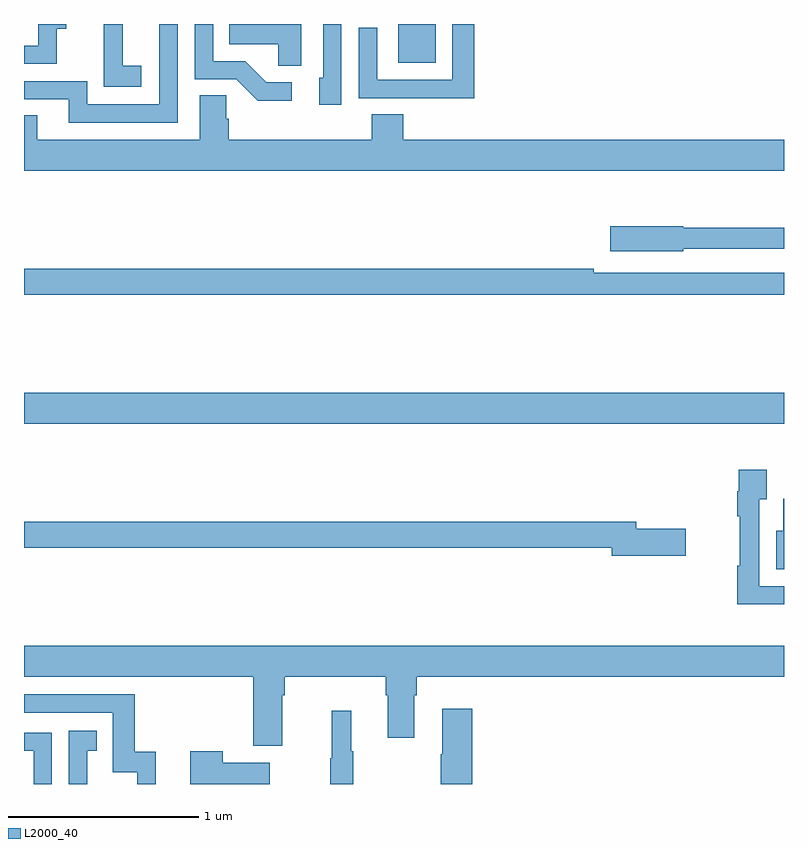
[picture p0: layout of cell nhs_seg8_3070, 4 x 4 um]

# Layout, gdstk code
import gdstk
lib = gdstk.Library(unit=1e-6, precision=1e-09)
def R(c, l, rs):  # rectangles x0, y0, x1, y1
    for r in rs: c.add(gdstk.rectangle(r[:2], r[2:], *l))
def P(c, l, *ps):  # polygons
    for p in ps: c.add(gdstk.Polygon(p, *l))
L2000_40 = (2000, 40)

nhs_seg8_3070 = lib.new_cell('nhs_seg8_3070')
R(nhs_seg8_3070, L2000_40, [(301,1153.796,305,1153.96)])
P(nhs_seg8_3070, L2000_40, [(301.618,1155.679),(301.52,1155.679),(301.52,1155.9),(301.421,1155.9),(301.421,1155.775),(301.42,1155.775),(301.42,1155.569),(301.618,1155.569)],
  [(302.41,1155.594),(302.275,1155.594),(302.164,1155.705),(301.995,1155.705),(301.995,1155.9),(301.899,1155.9),(301.899,1155.609),(302.118,1155.609),(302.231,1155.497),(302.41,1155.497)],
  [(303.166,1155.898),(303.127,1155.898),(303.127,1155.9),(302.969,1155.9),(302.969,1155.695),(303.166,1155.695)],
  [(302.67,1155.9),(302.574,1155.9),(302.574,1155.618),(302.555,1155.618),(302.555,1155.474),(302.67,1155.474)],
  [(301.809,1155.9),(301.713,1155.9),(301.713,1155.477),(301.332,1155.477),(301.332,1155.6),(301,1155.6),(301,1155.504),(301.235,1155.504),(301.235,1155.381),(301.809,1155.381)],
  [(303.371,1155.9),(303.255,1155.9),(303.255,1155.606),(302.859,1155.606),(302.859,1155.88),(302.763,1155.88),(302.763,1155.51),(303.079,1155.51),(303.079,1155.509),(303.371,1155.509)],
  [(301.173,1155.875),(301.222,1155.875),(301.222,1155.9),(301.074,1155.9),(301.074,1155.786),(301,1155.786),(301,1155.69),(301.173,1155.69)],
  [(302.458,1155.898),(302.08,1155.898),(302.08,1155.794),(302.337,1155.794),(302.337,1155.679),(302.458,1155.679)],
  [(305,1155.292),(302.996,1155.292),(302.996,1155.425),(302.831,1155.425),(302.831,1155.292),(302.078,1155.292),(302.078,1155.401),(302.064,1155.401),(302.064,1155.524),(301.925,1155.524),(301.925,1155.292),(301.069,1155.292),(301.069,1155.419),(301,1155.419),(301,1155.128),(305,1155.128)],
  [(304.47,1154.718),(305,1154.718),(305,1154.827),(304.47,1154.827),(304.47,1154.835),(304.086,1154.835),(304.086,1154.705),(304.47,1154.705)],
  [(305,1154.592),(303.998,1154.592),(303.998,1154.612),(301,1154.612),(301,1154.476),(305,1154.476)],
  [(305,1152.942),(304.869,1152.942),(304.869,1153.399),(304.909,1153.399),(304.909,1153.555),(304.761,1153.555),(304.761,1153.442),(304.753,1153.442),(304.753,1153.31),(304.768,1153.31),(304.768,1153.049),(304.753,1153.049),(304.753,1152.845),(305,1152.845)],
  [(305,1153.402),(304.997,1153.402),(304.997,1153.234),(304.958,1153.234),(304.958,1153.031),(305,1153.031)],
  [(304.483,1153.244),(304.222,1153.244),(304.222,1153.28),(301,1153.28),(301,1153.144),(304.094,1153.144),(304.094,1153.102),(304.483,1153.102)],
  [(302.359,1152.368),(302.372,1152.368),(302.372,1152.464),(302.903,1152.464),(302.903,1152.368),(302.915,1152.368),(302.915,1152.144),(303.055,1152.144),(303.055,1152.368),(303.068,1152.368),(303.068,1152.464),(305,1152.464),(305,1152.628),(301,1152.628),(301,1152.464),(302.207,1152.464),(302.207,1152.102),(302.359,1152.102)],
  [(301.694,1152.07),(301.583,1152.07),(301.583,1152.372),(301,1152.372),(301,1152.276),(301.467,1152.276),(301.467,1151.961),(301.596,1151.961),(301.596,1151.9),(301.694,1151.9)],
  [(303.359,1152.295),(303.2,1152.295),(303.2,1152.056),(303.193,1152.056),(303.193,1151.9),(303.359,1151.9)],
  [(302.734,1152.073),(302.723,1152.073),(302.723,1152.286),(302.62,1152.286),(302.62,1152.036),(302.613,1152.036),(302.613,1151.9),(302.734,1151.9)],
  [(301.333,1152.075),(301.382,1152.075),(301.382,1152.181),(301.236,1152.181),(301.236,1151.9),(301.333,1151.9)],
  [(301.146,1152.171),(301,1152.171),(301,1152.074),(301.05,1152.074),(301.05,1151.9),(301.146,1151.9)],
  [(302.293,1152.013),(302.045,1152.013),(302.045,1152.073),(301.874,1152.073),(301.874,1151.9),(302.293,1151.9)])

lib.write_gds('nhs_seg8_3070.gds')
